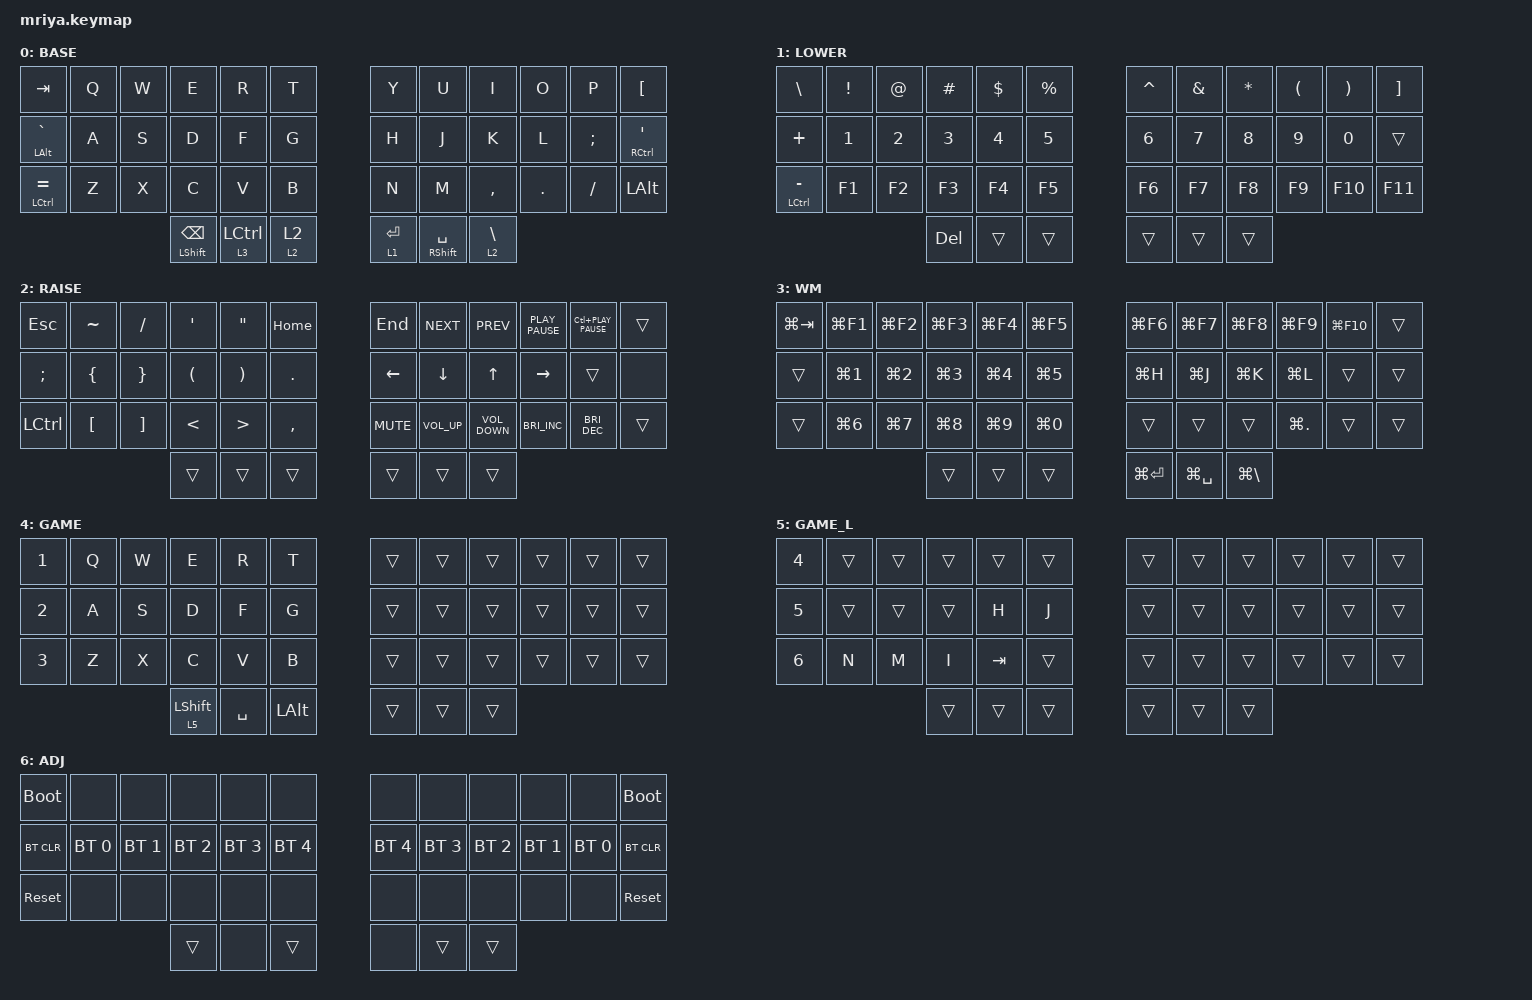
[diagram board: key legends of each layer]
#include <behaviors.dtsi>
#include <dt-bindings/zmk/bt.h>
#include <dt-bindings/zmk/keys.h>

#define DEF 0
#define LWR 1
#define RSE 2
#define ADJ 6

&lt { quick-tap-ms = <200>; };

&mt { quick-tap-ms = <200>; };

/ {
    conditional_layers {
        compatible = "zmk,conditional-layers";

        tri-layer {
            if-layers = <1 2>;
            then-layer = <6>;
        };
    };

    combos {
        compatible = "zmk,combos";

        game {
            bindings = <&tog 4>;
            key-positions = <17 38 37>;
        };

        Escape {
            bindings = <&kp ESCAPE>;
            key-positions = <15 16>;
            layers = <0 4>;
        };

        Meta_Escape_R {
            bindings = <&td_meta_esc>;
            key-positions = <19 20>;
        };

        CW_Letters {
            bindings = <&cw_letters>;
            key-positions = <37 40>;
        };

        Meta {
            bindings = <&sk LEFT_META>;
            key-positions = <14 16>;
        };
    };

    behaviors {
        td_meta_esc: td_meta_esc {
            compatible = "zmk,behavior-tap-dance";
            label = "TD META-ESC";
            #binding-cells = <0>;
            bindings = <&sk LEFT_META>, <&kp ESCAPE>;
        };

        cw_letters: cw_letters {
            compatible = "zmk,behavior-caps-word";
            label = "CW_LETTERS";
            #binding-cells = <0>;
            continue-list = <Q W E R T A S D F G Z X C V B Y U I O P H J K L N M UNDERSCORE MINUS SPACE BACKSPACE>;
        };

        lsl: lsl {
            compatible = "zmk,behavior-hold-tap";
            label = "Layer/Sticky layer";
            bindings = <&mo>, <&sl>;

            #binding-cells = <2>;
            tapping-term-ms = <200>;
            quick-tap-ms = <200>;
            require-prior-idle-ms = <300>;
        };
    };

    keymap {
        compatible = "zmk,keymap";

        base {
            display-name = "BASE";
            bindings = <
&kp TAB       	    &kp Q  &kp W  &kp E     	  &kp R        &kp T     &kp Y       &kp U            &kp I      &kp O    &kp P     &kp LEFT_BRACKET
&mt LEFT_ALT GRAVE  &kp A  &kp S  &kp D     	  &kp F        &kp G     &kp H       &kp J            &kp K      &kp L    &kp SEMI  &mt RCTRL SQT
&mt LCTRL EQUAL     &kp Z  &kp X  &kp C     	  &kp V        &kp B     &kp N       &kp M            &kp COMMA  &kp DOT  &kp FSLH  &kp LEFT_ALT
                                  &mt LSHFT BSPC  &lt 3 LCTRL  &lsl 2 2  &lt 1 ENTER &mt RSHFT SPACE  &lt 2 BACKSLASH
            >;
        };

        lower_base {
            display-name = "LOWER";
            bindings = <
&kp BACKSLASH           &kp EXCL  &kp AT  &kp HASH      &kp DOLLAR  &kp PERCENT  &kp CARET  &kp AMPS    &kp STAR  &kp LEFT_PARENTHESIS  &kp RIGHT_PARENTHESIS  &kp RIGHT_BRACKET
&kp PLUS                &kp N1    &kp N2  &kp N3 	&kp N4      &kp N5       &kp N6     &kp N7      &kp N8    &kp N9                &kp N0                 &trans
&mt LEFT_CONTROL MINUS  &kp F1    &kp F2  &kp F3        &kp F4      &kp F5       &kp F6     &kp F7      &kp F8    &kp F9                &kp F10                &kp F11
                                          &kp DELETE    &trans      &trans       &trans     &trans      &trans
            >;
        };

        raise_base {
            display-name = "RAISE";
            bindings = <
&kp ESCAPE        &kp TILDE         &kp SLASH          &kp SINGLE_QUOTE      &kp DOUBLE_QUOTES      &kp HOME   &kp END     &kp K_NEXT      &kp K_PREV         &kp K_PLAY_PAUSE  &kp LC(K_PLAY_PAUSE)  &trans
&kp SEMICOLON     &kp LEFT_BRACE    &kp RIGHT_BRACE    &kp LEFT_PARENTHESIS  &kp RIGHT_PARENTHESIS  &kp DOT    &kp LEFT    &kp DOWN_ARROW  &kp UP             &kp RIGHT         &trans                &none
&kp LEFT_CONTROL  &kp LEFT_BRACKET  &kp RIGHT_BRACKET  &kp LT                &kp GT                 &kp COMMA  &kp C_MUTE  &kp C_VOL_UP    &kp C_VOLUME_DOWN  &kp C_BRI_INC     &kp C_BRI_DEC         &trans
                                                       &trans                &trans                 &trans     &trans      &trans          &trans
            >;
        };

        window_manager {
            display-name = "WM";
            bindings = <
&kp LG(TAB) &kp LG(F1)  &kp LG(F2)  &kp LG(F3)   &kp LG(F4)        &kp LG(F5)    &kp LG(F6)    &kp LG(F7)    &kp LG(F8)  &kp LG(F9)      &kp LG(F10)  &trans
&trans      &kp LG(N1)  &kp LG(N2)  &kp LG(N3)   &kp LG(N4)        &kp LG(N5)    &kp LG(H)     &kp LG(J)     &kp LG(K)   &kp LG(L)       &trans       &trans
&trans      &kp LG(N6)  &kp LG(N7)  &kp LG(N8)   &kp LG(N9)        &kp LG(N0)    &trans        &trans        &trans      &kp LG(PERIOD)  &trans       &trans
                        &trans      &trans       &trans            &kp LG(ENTER) &kp LG(SPACE) &kp LG(BACKSLASH)
            >;
        };

        game_base {
            display-name = "GAME";
            bindings = <
&kp N1  &kp Q  &kp W  &kp E             &kp R      &kp T         &trans  &trans  &trans  &trans  &trans  &trans
&kp N2  &kp A  &kp S  &kp D             &kp F      &kp G         &trans  &trans  &trans  &trans  &trans  &trans
&kp N3  &kp Z  &kp X  &kp C             &kp V      &kp B         &trans  &trans  &trans  &trans  &trans  &trans
                      &lt 5 LEFT_SHIFT  &kp SPACE  &kp LEFT_ALT  &trans  &trans  &trans
            >;
        };

        game_lower {
            display-name = "GAME_L";
            bindings = <
&kp N4  &trans  &trans  &trans  &trans   &trans  &trans  &trans  &trans  &trans  &trans  &trans
&kp N5  &trans  &trans  &trans  &kp H    &kp J   &trans  &trans  &trans  &trans  &trans  &trans
&kp N6  &kp N   &kp M   &kp I   &kp TAB  &trans  &trans  &trans  &trans  &trans  &trans  &trans
                        &trans  &trans   &trans  &trans  &trans  &trans
            >;
        };

        adjust_layer {
            display-name = "ADJ";
            bindings = <
&bootloader  &none         &none         &none         &none         &none         &none         &none         &none         &none         &none         &bootloader
&bt BT_CLR   &bt BT_SEL 0  &bt BT_SEL 1  &bt BT_SEL 2  &bt BT_SEL 3  &bt BT_SEL 4  &bt BT_SEL 4  &bt BT_SEL 3  &bt BT_SEL 2  &bt BT_SEL 1  &bt BT_SEL 0  &bt BT_CLR
&sys_reset   &none         &none         &none         &none         &none         &none         &none         &none         &none         &none         &sys_reset
                                         &trans        &none         &trans        &none         &trans        &trans
            >;
        };
    };
};
